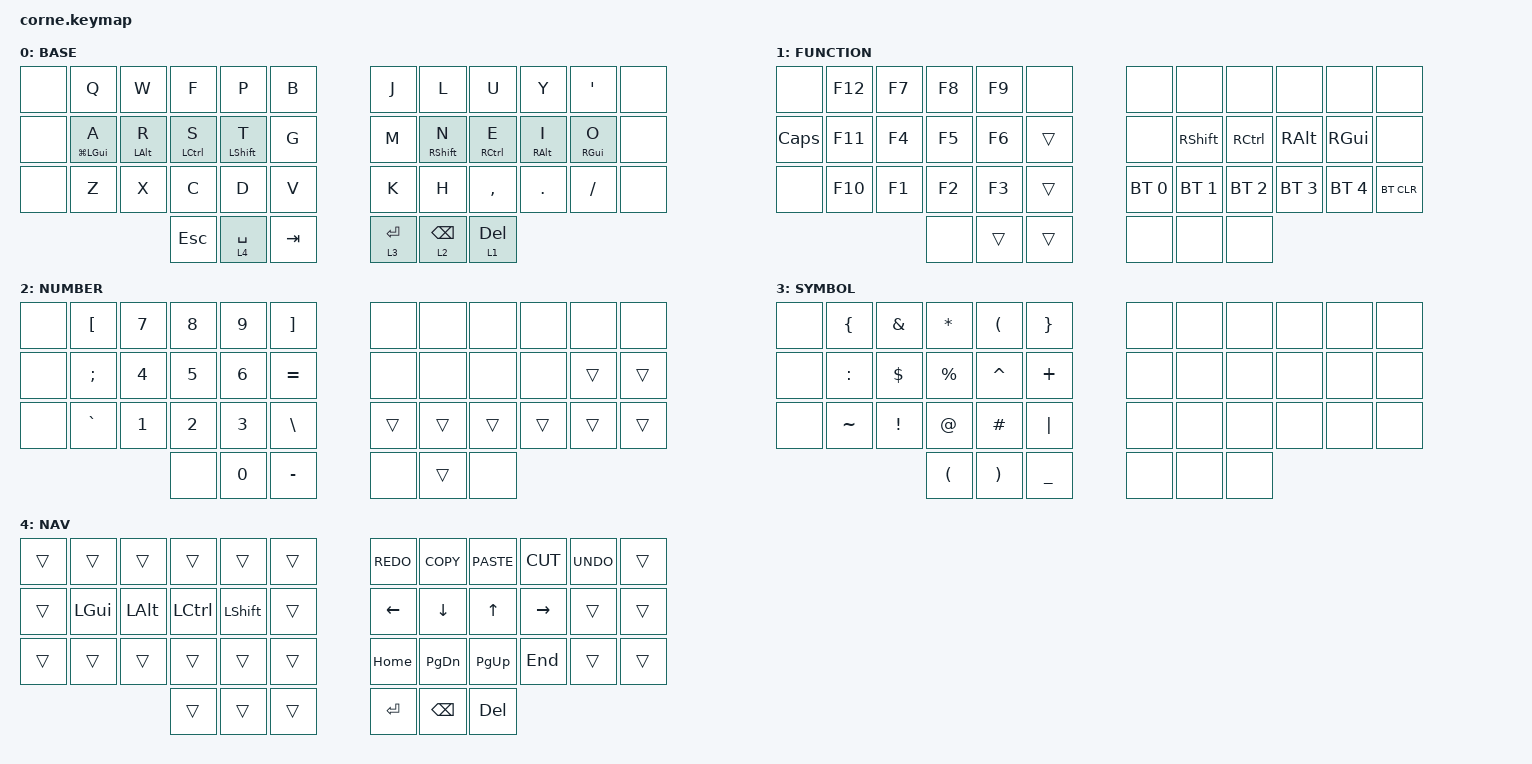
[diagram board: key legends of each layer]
#include <behaviors.dtsi>
#include <dt-bindings/zmk/bt.h>
#include <dt-bindings/zmk/keys.h>

/ {
    behaviors {
        hrml: hrml {
            compatible = "zmk,behavior-hold-tap";
            label = "HRML";
            bindings = <&kp>, <&kp>;

            #binding-cells = <2>;
            tapping-term-ms = <280>;
            quick-tap-ms = <175>;
            flavor = "balanced";
            hold-trigger-key-positions = <0 1 2 3 4 5 14 15 16 17 12 13 14 15 16 17 24 25 26 27 28 29 36 37 38>;
            hold-trigger-on-release;
            require-prior-idle-ms = <150>;
        };

        hrmr: hrmr {
            compatible = "zmk,behavior-hold-tap";
            label = "HRMR";
            bindings = <&kp>, <&kp>;

            #binding-cells = <2>;
            tapping-term-ms = <280>;
            quick-tap-ms = <175>;
            flavor = "balanced";
            hold-trigger-on-release;
            hold-trigger-key-positions = <6 7 8 9 10 11 18 19 20 21 22 23 30 31 32 33 34 35 39 40 41>;
            require-prior-idle-ms = <150>;
        };
    };

    keymap {
        compatible = "zmk,keymap";

        base {
            label = "BASE";
            bindings = <
&none  &kp Q                 &kp W             &kp F          &kp P               &kp B      &kp J         &kp L                &kp U          &kp Y              &kp APOSTROPHE     &none
&none  &hrml LG(LEFT_GUI) A  &hrml LEFT_ALT R  &hrml LCTRL S  &hrml LEFT_SHIFT T  &kp G      &kp M         &hrmr RIGHT_SHIFT N  &hrmr RCTRL E  &hrmr RIGHT_ALT I  &hrmr RIGHT_GUI O  &none
&none  &kp Z                 &kp X             &kp C          &kp D               &kp V      &kp K         &kp H                &kp COMMA      &kp DOT            &kp FSLH           &none
                                               &kp ESC        &lt 4 SPACE         &kp TAB    &lt 3 RETURN  &lt 2 BACKSPACE      &lt 1 DELETE
            >;
        };

        function {
            label = "FUNCTION";
            bindings = <
&none         &kp F12  &kp F7  &kp F8  &kp F9  &none     &none         &none            &none         &none          &none          &none
&kp CAPSLOCK  &kp F11  &kp F4  &kp F5  &kp F6  &trans    &none         &kp RIGHT_SHIFT  &kp RCTRL     &kp RIGHT_ALT  &kp RIGHT_GUI  &none
&none         &kp F10  &kp F1  &kp F2  &kp F3  &trans    &bt BT_SEL 0  &bt BT_SEL 1     &bt BT_SEL 2  &bt BT_SEL 3   &bt BT_SEL 4   &bt BT_CLR
                               &none   &trans  &trans    &none         &none            &none
            >;
        };

        number {
            label = "NUMBER";
            bindings = <
&none  &kp LEFT_BRACKET  &kp N7        &kp N8        &kp N9        &kp RIGHT_BRACKET    &none   &none   &none   &none   &none   &none
&none  &kp SEMICOLON     &kp NUMBER_4  &kp N5        &kp NUMBER_6  &kp EQUAL            &none   &none   &none   &none   &trans  &trans
&none  &kp GRAVE         &kp NUMBER_1  &kp NUMBER_2  &kp NUMBER_3  &kp BACKSLASH        &trans  &trans  &trans  &trans  &trans  &trans
                                       &none         &kp NUMBER_0  &kp MINUS            &none   &trans  &none
            >;
        };

        symbol {
            bindings = <
&none  &kp LEFT_BRACE  &kp AMPERSAND    &kp ASTERISK          &kp LEFT_PARENTHESIS   &kp RIGHT_BRACE    &none  &none  &none  &none  &none  &none
&none  &kp COLON       &kp DOLLAR       &kp PERCENT           &kp CARET              &kp PLUS           &none  &none  &none  &none  &none  &none
&none  &kp TILDE       &kp EXCLAMATION  &kp AT_SIGN           &kp HASH               &kp PIPE           &none  &none  &none  &none  &none  &none
                                        &kp LEFT_PARENTHESIS  &kp RIGHT_PARENTHESIS  &kp UNDERSCORE     &none  &none  &none
            >;

            label = "SYMBOL";
        };

        nav {
            bindings = <
&trans  &trans        &trans        &trans            &trans          &trans    &kp K_REDO  &kp K_COPY     &kp K_PASTE  &kp K_CUT  &kp K_UNDO  &trans
&trans  &kp LEFT_GUI  &kp LEFT_ALT  &kp LEFT_CONTROL  &kp LEFT_SHIFT  &trans    &kp LEFT    &kp DOWN       &kp UP       &kp RIGHT  &trans      &trans
&trans  &trans        &trans        &trans            &trans          &trans    &kp HOME    &kp PAGE_DOWN  &kp PAGE_UP  &kp END    &trans      &trans
                                    &trans            &trans          &trans    &kp ENTER   &kp BACKSPACE  &kp DELETE
            >;

            label = "NAV";
        };
    };
};
